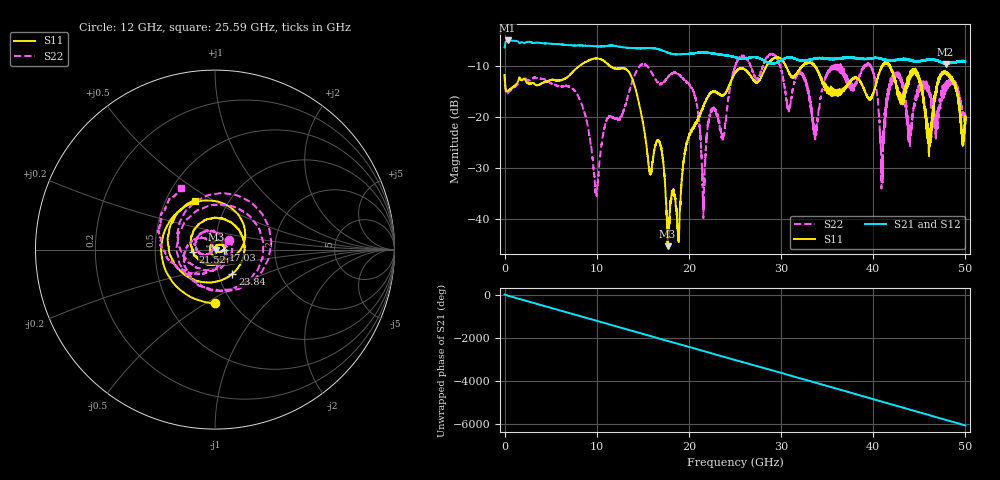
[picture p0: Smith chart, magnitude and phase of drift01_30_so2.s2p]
!Created with skrf (http://scikit-rf.org).
# Hz S RI R 50.0
!freq ReS11 ImS11 ReS21 ImS21 ReS12 ImS12 ReS22 ImS22
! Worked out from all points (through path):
!   10001 points, 300 kHz to 50 GHz, reference 50 ohm
!   highest |S21| = -5.05 dB at 325.3 MHz (marker M1); lowest = -9.6 dB at 47.85 GHz (marker M2)
!   group delay of S21, straight-line fit = 336 ps
!   lowest |S11| = -45.2 dB at 17.69 GHz (marker M3), VSWR 1.01, Z = 50.5 - j0.103 ohm
!   |S11| at or under -10 dB: start of sweep to 8.149 GHz; 11.42 GHz to 28.43 GHz (17.01 GHz wide, 85.4 % of centre); 41.8 GHz to end of sweep (the widest 3 of 15)
!   |S22| runs from -39.7 to -7.7 dB; largest |S21 - S12| = 0.012
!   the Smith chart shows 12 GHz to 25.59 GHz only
!   S11 on the Smith chart (normalised r, x): 12 GHz: 0.84, -0.55; 17.03 GHz: 1.10, -0.00; 21.52 GHz: 0.78, -0.02; 23.84 GHz: 1.17, -0.32; 25.59 GHz: 0.69, +0.41
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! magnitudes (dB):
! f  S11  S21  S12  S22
! 300 kHz  -11.8  -6.4  -6.5  -11.7
! 325.3 MHz  -15.0  -5.1  -5.1  -15.4
! 8.335 GHz  -9.7  -6.0  -6.0  -17.5
! 9.935 GHz  -8.6  -6.2  -6.2  -34.5
! 12 GHz  -10.5  -6.1  -6.1  -20.4
! 15.78 GHz  -31.0  -6.5  -6.5  -10.8
! 16.67 GHz  -24.5  -6.8  -6.7  -13.4
! 17.03 GHz  -26.4  -7.0  -6.9  -13.6
! 17.69 GHz  -45.2  -7.4  -7.4  -12.3
! 20.5 GHz  -22.0  -7.6  -7.5  -15.1
! 21.52 GHz  -18.1  -7.4  -7.4  -34.6
! 22.45 GHz  -15.2  -7.6  -7.5  -18.8
! 23.84 GHz  -15.6  -7.9  -8.0  -23.3
! 25 GHz  -11.4  -8.4  -8.4  -10.2
! 25.59 GHz  -10.6  -8.5  -8.5  -8.2
! 33.34 GHz  -9.5  -8.7  -8.7  -19.4
! 39.49 GHz  -16.5  -8.6  -8.6  -9.9
! 40.95 GHz  -10.3  -8.7  -8.6  -28.9
! 41.67 GHz  -9.8  -8.8  -9.0  -14.9
! 46.1 GHz  -25.8  -8.8  -8.8  -14.8
! 47.85 GHz  -11.3  -9.6  -9.5  -13.4
! 50 GHz  -21.3  -9.1  -9.2  -20.3
